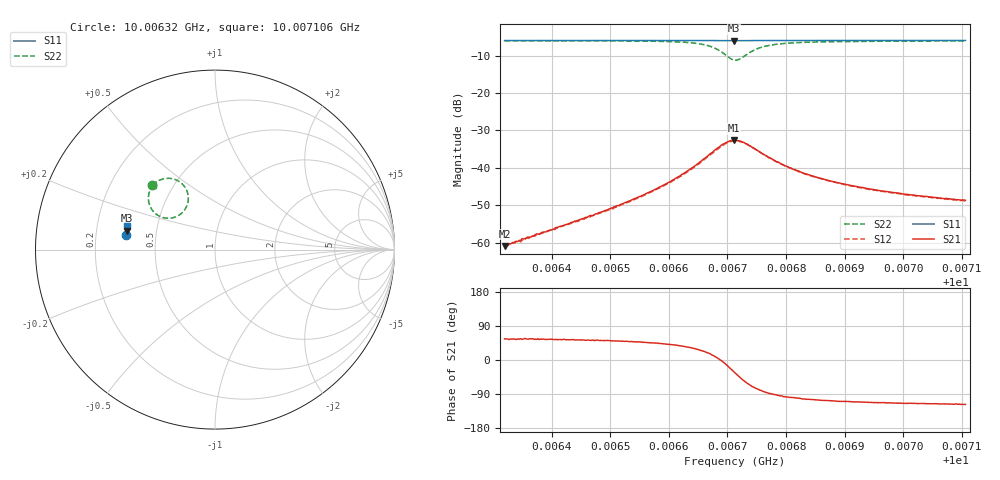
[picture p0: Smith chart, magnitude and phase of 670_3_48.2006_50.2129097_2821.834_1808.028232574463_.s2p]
#  HZ  S  RI  R  50.00
! Rohde & Schwarz Vector Network Analyzer
! Rohde-Schwarz,ZNB20-2Port,1311601062101988,3.16
! Created: UTC 3/20/2024, 12:06:06 PM
! freq[Hz]  re:S11  im:S11  re:S21  im:S21  re:S12  im:S12  re:S22  im:S22
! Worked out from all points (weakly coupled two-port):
!   401 points, 10.00632 GHz to 10.007106 GHz, reference 50 ohm
!   highest |S21| = -32.59 dB at 10.006711 GHz (marker M1); lowest = -60.9 dB at 10.00632 GHz (marker M2)
!   lowest |S11| = -6.0 dB at 10.006711 GHz (marker M3), VSWR 3.02, Z = 16.7 + j4.71 ohm
!   |S11| at or under -10 dB: nowhere
!   |S22| runs from -11.2 to -6.0 dB; largest |S21 - S12| = 0.0019
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1.00063196e10  -0.4974 0.0806  0.000506 0.000742  0.000454 0.000772  -0.3493 0.3577
1.00064513e10  -0.4962 0.0893  0.00126 0.00166  0.00116 0.00167  -0.3344 0.3708
1.0006528e10  -0.4954 0.0945  0.00227 0.00265  0.00209 0.0027  -0.319 0.3813
1.00065831e10  -0.4944 0.098  0.00397 0.00381  0.00364 0.00387  -0.2984 0.3908
1.00066244e10  -0.4939 0.101  0.00671 0.00489  0.00631 0.00511  -0.2682 0.3971
1.00066637e10  -0.4928 0.1038  0.013 0.00483  0.0124 0.00536  -0.2084 0.3846
1.00066794e10  -0.4921 0.1046  0.0173 0.00257  0.0165 0.00357  -0.1733 0.3557
1.00066932e10  -0.4916 0.1049  0.0207 -0.00228  0.0201 -0.000743  -0.1503 0.3044
1.0006703e10  -0.4912 0.105  0.0214 -0.00769  0.0214 -0.00582  -0.1533 0.2542
1.00067109e10  -0.491 0.1052  0.0201 -0.0122  0.0203 -0.0103  -0.1739 0.2151
1.00067129e10  -0.4912 0.105  0.0193 -0.013  0.02 -0.0112  -0.1815 0.2068
1.00067207e10  -0.4912 0.1053  0.0162 -0.0162  0.0169 -0.0146  -0.2183 0.1825
1.00067306e10  -0.4915 0.1055  0.0113 -0.0179  0.0125 -0.0171  -0.2669 0.1748
1.00067443e10  -0.492 0.1064  0.0059 -0.0175  0.00692 -0.017  -0.3187 0.1913
1.00067581e10  -0.4921 0.1073  0.00255 -0.0155  0.0034 -0.0153  -0.3476 0.2173
1.00067758e10  -0.4923 0.1086  9.59e-05 -0.0132  0.00096 -0.013  -0.3644 0.2475
1.00068014e10  -0.4921 0.1106  -0.00138 -0.0104  -0.00075 -0.0103  -0.3709 0.2785
1.00068446e10  -0.4918 0.1135  -0.00194 -0.00759  -0.00155 -0.00756  -0.3688 0.3085
1.00068977e10  -0.491 0.117  -0.002 -0.00576  -0.00167 -0.00577  -0.3626 0.3283
1.00069764e10  -0.4902 0.1223  -0.00186 -0.00436  -0.00165 -0.00439  -0.3545 0.345
1.00070531e10  -0.489 0.1272  -0.00173 -0.00363  -0.00153 -0.00363  -0.3478 0.3551
1.00071062e10  -0.4883 0.1306  -0.00169 -0.00327  -0.0015 -0.00327  -0.3437 0.3605
